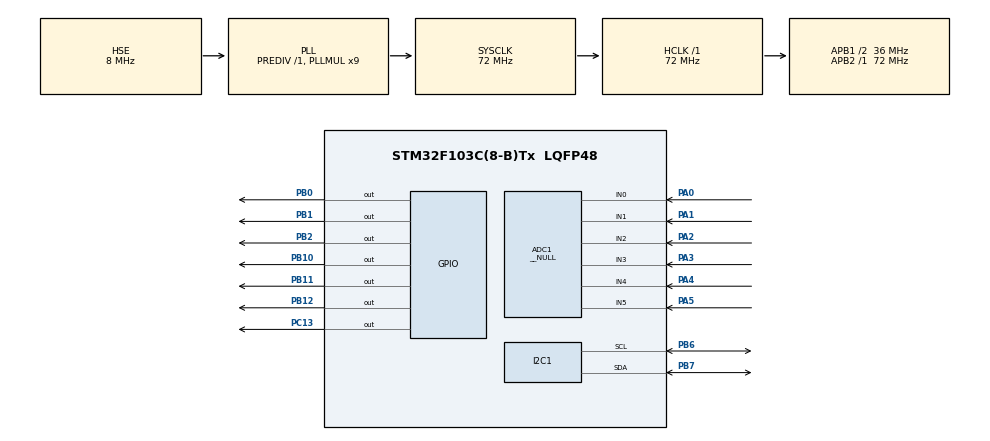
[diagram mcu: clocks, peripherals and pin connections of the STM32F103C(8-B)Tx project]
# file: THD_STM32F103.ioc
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ADC1.Channel-0\#ChannelRegularConversion=ADC_CHANNEL_0
ADC1.Channel-1\#ChannelRegularConversion=ADC_CHANNEL_1
ADC1.Channel-2\#ChannelRegularConversion=ADC_CHANNEL_2
ADC1.Channel-3\#ChannelRegularConversion=ADC_CHANNEL_3
ADC1.Channel-4\#ChannelRegularConversion=ADC_CHANNEL_4
ADC1.Channel-5\#ChannelRegularConversion=ADC_CHANNEL_5
ADC1.ContinuousConvMode=ENABLE
ADC1.Mode=__NULL
ADC1.NbrOfConversion=6
ADC1.NbrOfConversionFlag=1
ADC1.Rank-0\#ChannelRegularConversion=1
ADC1.Rank-1\#ChannelRegularConversion=2
ADC1.Rank-2\#ChannelRegularConversion=3
ADC1.Rank-3\#ChannelRegularConversion=4
ADC1.Rank-4\#ChannelRegularConversion=5
ADC1.Rank-5\#ChannelRegularConversion=6
ADC1.SamplingTime-0\#ChannelRegularConversion=ADC_SAMPLETIME_13CYCLES_5
ADC1.SamplingTime-1\#ChannelRegularConversion=ADC_SAMPLETIME_13CYCLES_5
ADC1.SamplingTime-2\#ChannelRegularConversion=ADC_SAMPLETIME_13CYCLES_5
ADC1.SamplingTime-3\#ChannelRegularConversion=ADC_SAMPLETIME_13CYCLES_5
ADC1.SamplingTime-4\#ChannelRegularConversion=ADC_SAMPLETIME_13CYCLES_5
ADC1.SamplingTime-5\#ChannelRegularConversion=ADC_SAMPLETIME_13CYCLES_5
ADC1.master=1
Dma.ADC1.0.Direction=DMA_PERIPH_TO_MEMORY
Dma.ADC1.0.Instance=DMA1_Channel1
Dma.ADC1.0.MemDataAlignment=DMA_MDATAALIGN_WORD
Dma.ADC1.0.MemInc=DMA_MINC_ENABLE
Dma.ADC1.0.Mode=DMA_CIRCULAR
Dma.ADC1.0.PeriphDataAlignment=DMA_PDATAALIGN_WORD
Dma.ADC1.0.PeriphInc=DMA_PINC_DISABLE
Dma.ADC1.0.Priority=DMA_PRIORITY_LOW
Dma.MEMTOMEM.1.Direction=DMA_MEMORY_TO_MEMORY
Dma.MEMTOMEM.1.Instance=DMA1_Channel2
Dma.MEMTOMEM.1.MemDataAlignment=DMA_MDATAALIGN_WORD
Dma.MEMTOMEM.1.MemInc=DMA_MINC_ENABLE
Dma.MEMTOMEM.1.Mode=DMA_NORMAL
Dma.MEMTOMEM.1.PeriphDataAlignment=DMA_PDATAALIGN_WORD
Dma.MEMTOMEM.1.PeriphInc=DMA_PINC_ENABLE
Dma.MEMTOMEM.1.Priority=DMA_PRIORITY_LOW
Dma.Request0=ADC1
Dma.Request1=MEMTOMEM
I2C1.I2C_Mode=I2C_Fast
Mcu.Family=STM32F1
Mcu.Name=STM32F103C(8-B)Tx
Mcu.Package=LQFP48
NVIC.ADC1_2_IRQn=true\:0\:0\:false\:false\:true\:true\:true
NVIC.DMA1_Channel1_IRQn=true\:0\:0\:false\:false\:true\:false\:true
NVIC.PriorityGroup=NVIC_PRIORITYGROUP_4
NVIC.TIM2_IRQn=true\:0\:0\:false\:false\:true\:true\:true
PA0-WKUP.Signal=ADCx_IN0
PA1.Signal=ADCx_IN1
PA13.Mode=Serial_Wire
PA13.Signal=SYS_JTMS-SWDIO
PA14.Mode=Serial_Wire
PA14.Signal=SYS_JTCK-SWCLK
PA2.Signal=ADCx_IN2
PA3.Signal=ADCx_IN3
PA4.Signal=ADCx_IN4
PA5.Signal=ADCx_IN5
PB0.Signal=GPIO_Output
PB1.Signal=GPIO_Output
PB10.Signal=GPIO_Output
PB11.Signal=GPIO_Output
PB12.Signal=GPIO_Output
PB2.Signal=GPIO_Output
PB6.Mode=I2C
PB6.Signal=I2C1_SCL
PB7.Mode=I2C
PB7.Signal=I2C1_SDA
PC13-TAMPER-RTC.Signal=GPIO_Output
PD0-OSC_IN.Mode=HSE-External-Oscillator
PD0-OSC_IN.Signal=RCC_OSC_IN
PD1-OSC_OUT.Mode=HSE-External-Oscillator
PD1-OSC_OUT.Signal=RCC_OSC_OUT
ProjectManager.HeapSize=0x200
ProjectManager.StackSize=0x400
ProjectManager.TargetToolchain=STM32CubeIDE
RCC.ADCPresc=RCC_ADCPCLK2_DIV6
RCC.AHBFreq_Value=72000000
RCC.APB1CLKDivider=RCC_HCLK_DIV2
RCC.APB1Freq_Value=36000000
RCC.APB1TimFreq_Value=72000000
RCC.APB2Freq_Value=72000000
RCC.APB2TimFreq_Value=72000000
RCC.HCLKFreq_Value=72000000
RCC.PLLMUL=RCC_PLL_MUL9
RCC.PLLSourceVirtual=RCC_PLLSOURCE_HSE
RCC.SYSCLKFreq_VALUE=72000000
RCC.SYSCLKSource=RCC_SYSCLKSOURCE_PLLCLK
RCC.USBFreq_Value=72000000
SH.ADCx_IN0.0=ADC1_IN0,IN0
SH.ADCx_IN1.0=ADC1_IN1,IN1
SH.ADCx_IN2.0=ADC1_IN2,IN2
SH.ADCx_IN3.0=ADC1_IN3,IN3
SH.ADCx_IN4.0=ADC1_IN4,IN4
SH.ADCx_IN5.0=ADC1_IN5,IN5
TIM2.Period=1000
TIM2.Prescaler=36000-1
VP_TIM2_VS_ClockSourceINT.Mode=Internal
board=custom

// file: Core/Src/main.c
/* USER CODE BEGIN Header */
/**
  ******************************************************************************
  * @file           : main.c
  * @brief          : Main program body
  ******************************************************************************
  * @attention
  *
  * <h2><center>&copy; Copyright (c) 2020 STMicroelectronics.
  * All rights reserved.</center></h2>
  *
  * This software component is licensed by ST under BSD 3-Clause license,
  * the "License"; You may not use this file except in compliance with the
  * License. You may obtain a copy of the License at:
  *                        opensource.org/licenses/BSD-3-Clause
  *
  ******************************************************************************
  */
/* USER CODE END Header */
#include "main.h"
#include "adc.h"
#include "dma.h"
#include "i2c.h"
#include "tim.h"
#include "gpio.h"

/* USER CODE BEGIN Includes */
#include "stdio.h"
#include "ssd1306.h"

/* USER CODE END Includes */

/* USER CODE BEGIN PV */
uint32_t datos [6];
uint8_t flag_print = 0;
char texto[25];
/* USER CODE END PV */

void SystemClock_Config(void);

int main(void)
{

  /* MCU Configuration--------------------------------------------------------*/

  /* Reset of all peripherals, Initializes the Flash interface and the Systick. */
  HAL_Init();

  /* Configure the system clock */
  SystemClock_Config();

  /* Initialize all configured peripherals */
  MX_GPIO_Init();
  MX_DMA_Init();
  MX_ADC1_Init();
  MX_I2C1_Init();
  MX_TIM2_Init();
  /* USER CODE BEGIN 2 */
  SSD1306_Init();

  HAL_TIM_Base_Start_IT(&htim2);

  SSD1306_Clear();
  SSD1306_GotoXY(0, 32);
  SSD1306_Puts("TEST", &Font_7x10, 1);
  SSD1306_UpdateScreen();
  HAL_Delay(2000);
  SSD1306_Clear();

  datos[2]=0xffff;

  HAL_ADC_Start_DMA(&hadc1, datos, 6);

  /* USER CODE END 2 */

  /* Infinite loop */
  /* USER CODE BEGIN WHILE */
  while (1)
  {

	  if (flag_print){

		  SSD1306_Clear();
		  SSD1306_GotoXY(0, 18);
		  sprintf (texto, "%d %d", (int)datos[0], (int)datos[1]);
		  SSD1306_Puts(texto, &Font_7x10, 1);
		  SSD1306_GotoXY(0, 30);
		  sprintf (texto, "%d %d", (int)datos[2], (int)datos[3]);
		  SSD1306_Puts(texto, &Font_7x10, 1);
		  SSD1306_GotoXY(0, 42);
		  sprintf (texto, "%d %d", (int)datos[4], (int)datos[5]);
		  SSD1306_Puts(texto, &Font_7x10, 1);
		  SSD1306_UpdateScreen();

		  flag_print = 0;
	  }
    /* USER CODE END WHILE */

  }
}

void SystemClock_Config(void)
{
  RCC_OscInitTypeDef RCC_OscInitStruct = {0};
  RCC_ClkInitTypeDef RCC_ClkInitStruct = {0};
  RCC_PeriphCLKInitTypeDef PeriphClkInit = {0};

  /** Initializes the RCC Oscillators according to the specified parameters
  * in the RCC_OscInitTypeDef structure.
  */
  RCC_OscInitStruct.OscillatorType = RCC_OSCILLATORTYPE_HSE;
  RCC_OscInitStruct.HSEState = RCC_HSE_ON;
  RCC_OscInitStruct.HSEPredivValue = RCC_HSE_PREDIV_DIV1;
  RCC_OscInitStruct.HSIState = RCC_HSI_ON;
  RCC_OscInitStruct.PLL.PLLState = RCC_PLL_ON;
  RCC_OscInitStruct.PLL.PLLSource = RCC_PLLSOURCE_HSE;
  RCC_OscInitStruct.PLL.PLLMUL = RCC_PLL_MUL9;
  if (HAL_RCC_OscConfig(&RCC_OscInitStruct) != HAL_OK)
  {
    Error_Handler();
  }
  /** Initializes the CPU, AHB and APB buses clocks
  */
  RCC_ClkInitStruct.ClockType = RCC_CLOCKTYPE_HCLK|RCC_CLOCKTYPE_SYSCLK
                              |RCC_CLOCKTYPE_PCLK1|RCC_CLOCKTYPE_PCLK2;
  RCC_ClkInitStruct.SYSCLKSource = RCC_SYSCLKSOURCE_PLLCLK;
  RCC_ClkInitStruct.AHBCLKDivider = RCC_SYSCLK_DIV1;
  RCC_ClkInitStruct.APB1CLKDivider = RCC_HCLK_DIV2;
  RCC_ClkInitStruct.APB2CLKDivider = RCC_HCLK_DIV1;

  if (HAL_RCC_ClockConfig(&RCC_ClkInitStruct, FLASH_LATENCY_2) != HAL_OK)
  {
    Error_Handler();
  }
  PeriphClkInit.PeriphClockSelection = RCC_PERIPHCLK_ADC;
  PeriphClkInit.AdcClockSelection = RCC_ADCPCLK2_DIV6;
  if (HAL_RCCEx_PeriphCLKConfig(&PeriphClkInit) != HAL_OK)
  {
    Error_Handler();
  }
}

/* USER CODE BEGIN 4 */
void HAL_ADC_ConvCpltCallback(ADC_HandleTypeDef* hadc){

}

void HAL_TIM_PeriodElapsedCallback(TIM_HandleTypeDef *htim){

	flag_print = 1;
}
/* USER CODE END 4 */

void Error_Handler(void)
{
}

/************************ (C) COPYRIGHT STMicroelectronics *****END OF FILE****/
